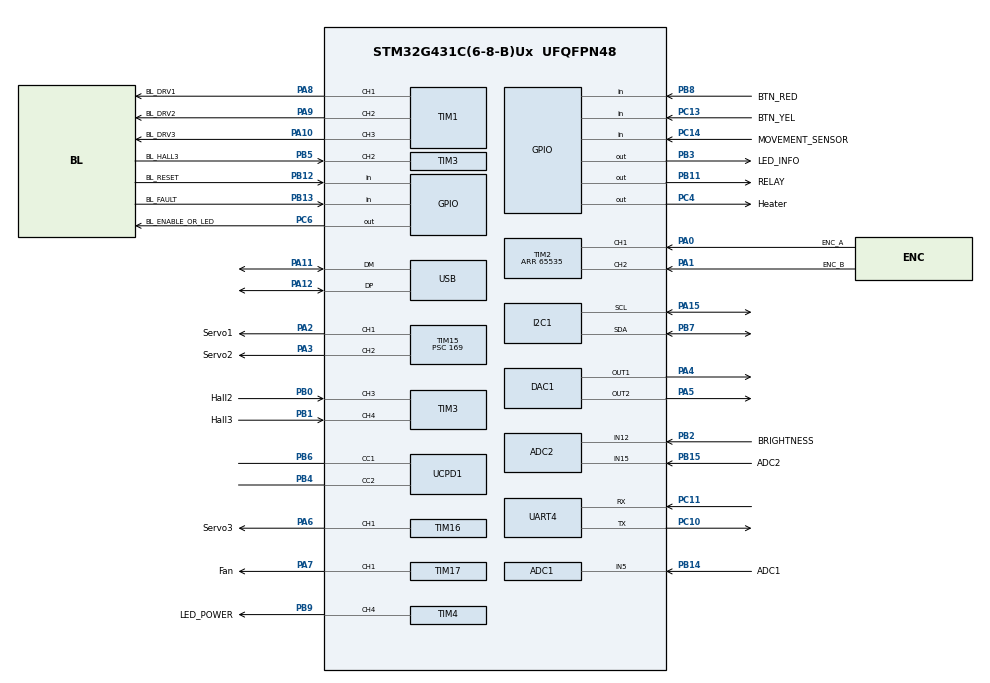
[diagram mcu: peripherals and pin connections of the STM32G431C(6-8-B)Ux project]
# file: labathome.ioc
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ADC1.Channel-0\#ChannelRegularConversion=ADC_CHANNEL_5
ADC1.Channel-1\#ChannelRegularConversion=ADC_CHANNEL_TEMPSENSOR_ADC1
ADC1.Channel-2\#ChannelRegularConversion=ADC_CHANNEL_VBAT
ADC1.Channel-3\#ChannelRegularConversion=ADC_CHANNEL_VREFINT
ADC1.ClockPrescaler=ADC_CLOCK_SYNC_PCLK_DIV4
ADC1.ContinuousConvMode=ENABLE
ADC1.DMAContinuousRequests=ENABLE
ADC1.EOCSelection=ADC_EOC_SEQ_CONV
ADC1.NbrOfConversion=4
ADC1.NbrOfConversionFlag=1
ADC1.OffsetNumber-0\#ChannelRegularConversion=ADC_OFFSET_NONE
ADC1.OffsetNumber-1\#ChannelRegularConversion=ADC_OFFSET_NONE
ADC1.OffsetNumber-2\#ChannelRegularConversion=ADC_OFFSET_NONE
ADC1.OffsetNumber-3\#ChannelRegularConversion=ADC_OFFSET_NONE
ADC1.Rank-0\#ChannelRegularConversion=1
ADC1.Rank-1\#ChannelRegularConversion=2
ADC1.Rank-2\#ChannelRegularConversion=3
ADC1.Rank-3\#ChannelRegularConversion=4
ADC1.Resolution=ADC_RESOLUTION_12B
ADC1.SamplingTime-0\#ChannelRegularConversion=ADC_SAMPLETIME_247CYCLES_5
ADC1.SamplingTime-1\#ChannelRegularConversion=ADC_SAMPLETIME_247CYCLES_5
ADC1.SamplingTime-2\#ChannelRegularConversion=ADC_SAMPLETIME_247CYCLES_5
ADC1.SamplingTime-3\#ChannelRegularConversion=ADC_SAMPLETIME_247CYCLES_5
ADC1.master=1
ADC2.Channel-0\#ChannelRegularConversion=ADC_CHANNEL_12
ADC2.Channel-1\#ChannelRegularConversion=ADC_CHANNEL_15
ADC2.ContinuousConvMode=ENABLE
ADC2.DMAContinuousRequests=ENABLE
ADC2.NbrOfConversion=2
ADC2.NbrOfConversionFlag=1
ADC2.OffsetNumber-0\#ChannelRegularConversion=ADC_OFFSET_NONE
ADC2.OffsetNumber-1\#ChannelRegularConversion=ADC_OFFSET_NONE
ADC2.Rank-0\#ChannelRegularConversion=1
ADC2.Rank-1\#ChannelRegularConversion=2
ADC2.SamplingTime-0\#ChannelRegularConversion=ADC_SAMPLETIME_640CYCLES_5
ADC2.SamplingTime-1\#ChannelRegularConversion=ADC_SAMPLETIME_640CYCLES_5
DAC1.DAC_Channel-DAC_OUT2=DAC_CHANNEL_2
Dma.ADC1.1.Direction=DMA_PERIPH_TO_MEMORY
Dma.ADC1.1.EventEnable=DISABLE
Dma.ADC1.1.Instance=DMA1_Channel1
Dma.ADC1.1.MemDataAlignment=DMA_MDATAALIGN_HALFWORD
Dma.ADC1.1.MemInc=DMA_MINC_ENABLE
Dma.ADC1.1.Mode=DMA_CIRCULAR
Dma.ADC1.1.PeriphDataAlignment=DMA_PDATAALIGN_HALFWORD
Dma.ADC1.1.PeriphInc=DMA_PINC_DISABLE
Dma.ADC1.1.Polarity=HAL_DMAMUX_REQ_GEN_RISING
Dma.ADC1.1.Priority=DMA_PRIORITY_LOW
Dma.ADC1.1.RequestNumber=1
Dma.ADC1.1.SignalID=NONE
Dma.ADC1.1.SyncEnable=DISABLE
Dma.ADC1.1.SyncPolarity=HAL_DMAMUX_SYNC_NO_EVENT
Dma.ADC1.1.SyncRequestNumber=1
Dma.ADC1.1.SyncSignalID=NONE
Dma.ADC2.0.Direction=DMA_PERIPH_TO_MEMORY
Dma.ADC2.0.EventEnable=DISABLE
Dma.ADC2.0.Instance=DMA1_Channel2
Dma.ADC2.0.MemDataAlignment=DMA_MDATAALIGN_HALFWORD
Dma.ADC2.0.MemInc=DMA_MINC_ENABLE
Dma.ADC2.0.Mode=DMA_CIRCULAR
Dma.ADC2.0.PeriphDataAlignment=DMA_PDATAALIGN_HALFWORD
Dma.ADC2.0.PeriphInc=DMA_PINC_DISABLE
Dma.ADC2.0.Polarity=HAL_DMAMUX_REQ_GEN_RISING
Dma.ADC2.0.Priority=DMA_PRIORITY_LOW
Dma.ADC2.0.RequestNumber=1
Dma.ADC2.0.SignalID=NONE
Dma.ADC2.0.SyncEnable=DISABLE
Dma.ADC2.0.SyncPolarity=HAL_DMAMUX_SYNC_NO_EVENT
Dma.ADC2.0.SyncRequestNumber=1
Dma.ADC2.0.SyncSignalID=NONE
Dma.Request0=ADC2
Dma.Request1=ADC1
Dma.Request2=UCPD1_RX
Dma.Request3=UCPD1_TX
Dma.UCPD1_RX.2.Direction=DMA_PERIPH_TO_MEMORY
Dma.UCPD1_RX.2.EventEnable=DISABLE
Dma.UCPD1_RX.2.Instance=DMA1_Channel3
Dma.UCPD1_RX.2.MemDataAlignment=DMA_MDATAALIGN_BYTE
Dma.UCPD1_RX.2.MemInc=DMA_MINC_ENABLE
Dma.UCPD1_RX.2.Mode=DMA_NORMAL
Dma.UCPD1_RX.2.PeriphDataAlignment=DMA_PDATAALIGN_BYTE
Dma.UCPD1_RX.2.PeriphInc=DMA_PINC_DISABLE
Dma.UCPD1_RX.2.Polarity=HAL_DMAMUX_REQ_GEN_RISING
Dma.UCPD1_RX.2.Priority=DMA_PRIORITY_LOW
Dma.UCPD1_RX.2.RequestNumber=1
Dma.UCPD1_RX.2.SignalID=NONE
Dma.UCPD1_RX.2.SyncEnable=DISABLE
Dma.UCPD1_RX.2.SyncPolarity=HAL_DMAMUX_SYNC_NO_EVENT
Dma.UCPD1_RX.2.SyncRequestNumber=1
Dma.UCPD1_RX.2.SyncSignalID=NONE
Dma.UCPD1_TX.3.Direction=DMA_MEMORY_TO_PERIPH
Dma.UCPD1_TX.3.EventEnable=DISABLE
Dma.UCPD1_TX.3.Instance=DMA1_Channel4
Dma.UCPD1_TX.3.MemDataAlignment=DMA_MDATAALIGN_BYTE
Dma.UCPD1_TX.3.MemInc=DMA_MINC_ENABLE
Dma.UCPD1_TX.3.Mode=DMA_NORMAL
Dma.UCPD1_TX.3.PeriphDataAlignment=DMA_PDATAALIGN_BYTE
Dma.UCPD1_TX.3.PeriphInc=DMA_PINC_DISABLE
Dma.UCPD1_TX.3.Polarity=HAL_DMAMUX_REQ_GEN_RISING
Dma.UCPD1_TX.3.Priority=DMA_PRIORITY_LOW
Dma.UCPD1_TX.3.RequestNumber=1
Dma.UCPD1_TX.3.SignalID=NONE
Dma.UCPD1_TX.3.SyncEnable=DISABLE
Dma.UCPD1_TX.3.SyncPolarity=HAL_DMAMUX_SYNC_NO_EVENT
Dma.UCPD1_TX.3.SyncRequestNumber=1
Dma.UCPD1_TX.3.SyncSignalID=NONE
FREERTOS.Tasks01=defaultTask,0,128,StartDefaultTask,Default,NULL,Dynamic,NULL,NULL
FREERTOS.configTOTAL_HEAP_SIZE=8192
I2C1.OwnAddress=STM32_I2C_ADDRESS
I2C1.Timing=0x40B285C2
Mcu.Family=STM32G4
Mcu.Name=STM32G431C(6-8-B)Ux
Mcu.Package=UFQFPN48
Mcu.UserConstants=STM32_I2C_ADDRESS,4
NVIC.DMA1_Channel1_IRQn=true\:5\:0\:false\:false\:true\:true\:false\:true\:true
NVIC.DMA1_Channel2_IRQn=true\:5\:0\:false\:false\:true\:true\:false\:true\:true
NVIC.DMA1_Channel3_IRQn=true\:5\:0\:false\:false\:true\:true\:false\:true\:true
NVIC.DMA1_Channel4_IRQn=true\:5\:0\:false\:false\:true\:true\:false\:true\:true
NVIC.I2C1_ER_IRQn=true\:5\:0\:false\:false\:true\:true\:true\:true\:true
NVIC.I2C1_EV_IRQn=true\:5\:0\:false\:false\:true\:true\:true\:true\:true
NVIC.PriorityGroup=NVIC_PRIORITYGROUP_4
NVIC.TIM6_DAC_IRQn=true\:15\:0\:false\:false\:true\:false\:false\:true\:true
NVIC.TimeBase=TIM6_DAC_IRQn
NVIC.TimeBaseIP=TIM6
NVIC.UCPD1_IRQn=true\:5\:0\:false\:false\:true\:true\:true\:false\:true
NVIC.USB_HP_IRQn=true\:5\:0\:false\:false\:true\:true\:true\:true\:true
NVIC.USB_LP_IRQn=true\:5\:0\:false\:false\:true\:true\:true\:true\:true
PA0.GPIO_Label=ENC_A
PA0.Signal=S_TIM2_CH1
PA1.GPIO_Label=ENC_B
PA1.Signal=S_TIM2_CH2
PA10.GPIO_Label=BL_DRV3
PA10.Signal=S_TIM1_CH3
PA11.Mode=Device
PA11.Signal=USB_DM
PA12.Mode=Device
PA12.Signal=USB_DP
PA13.Signal=SYS_JTMS-SWDIO
PA14.Signal=SYS_JTCK-SWCLK
PA15.Mode=I2C
PA15.Signal=I2C1_SCL
PA2.GPIO_Label=Servo1
PA2.Signal=S_TIM15_CH1
PA3.GPIO_Label=Servo2
PA3.Signal=S_TIM15_CH2
PA4.Signal=COMP_DAC11_group
PA5.Signal=COMP_DAC12_group
PA6.GPIO_Label=Servo3
PA6.Signal=S_TIM16_CH1
PA7.GPIO_Label=Fan
PA7.Signal=S_TIM17_CH1
PA8.GPIO_Label=BL_DRV1
PA8.Signal=S_TIM1_CH1
PA9.GPIO_Label=BL_DRV2
PA9.Signal=S_TIM1_CH2
PB0.GPIO_Label=Hall2
PB0.Signal=S_TIM3_CH3
PB1.GPIO_Label=Hall3
PB1.Signal=S_TIM3_CH4
PB11.GPIO_Label=RELAY
PB11.Signal=GPIO_Output
PB12.GPIO_Label=BL_RESET
PB12.Signal=GPIO_Input
PB13.GPIO_Label=BL_FAULT
PB13.Signal=GPIO_Input
PB14.GPIO_Label=ADC1
PB14.Mode=IN5-Single-Ended
PB14.Signal=ADC1_IN5
PB15.GPIO_Label=ADC2
PB15.Signal=SharedAnalog_PB15
PB2.GPIO_Label=BRIGHTNESS
PB2.Mode=IN12-Single-Ended
PB2.Signal=ADC2_IN12
PB3.GPIO_Label=LED_INFO
PB3.Signal=GPIO_Output
PB4.Mode=Sink_AllSignals
PB4.Signal=UCPD1_CC2
PB5.GPIO_Label=BL_HALL3
PB5.Signal=S_TIM3_CH2
PB6.Mode=Sink_AllSignals
PB6.Signal=UCPD1_CC1
PB7.Mode=I2C
PB7.Signal=I2C1_SDA
PB8-BOOT0.GPIO_Label=BTN_RED
PB8-BOOT0.Signal=GPIO_Input
PB9.GPIO_Label=LED_POWER
PB9.Signal=S_TIM4_CH4
PC10.Mode=Asynchronous
PC10.Signal=UART4_TX
PC11.Mode=Asynchronous
PC11.Signal=UART4_RX
PC13.GPIO_Label=BTN_YEL
PC13.Signal=GPIO_Input
PC14-OSC32_IN.GPIO_Label=MOVEMENT_SENSOR
PC14-OSC32_IN.Signal=GPIO_Input
PC4.GPIO_Label=Heater
PC4.Signal=GPIO_Output
PC6.GPIO_Label=BL_ENABLE_OR_LED
PC6.Signal=GPIO_Output
PF0-OSC_IN.Mode=HSE-External-Oscillator
PF0-OSC_IN.Signal=RCC_OSC_IN
PF1-OSC_OUT.Mode=HSE-External-Oscillator
PF1-OSC_OUT.Signal=RCC_OSC_OUT
ProjectManager.HeapSize=0x200
ProjectManager.StackSize=0x400
ProjectManager.TargetToolchain=CMake
RCC.ADC12Freq_Value=170000000
RCC.AHBFreq_Value=170000000
RCC.APB1Freq_Value=170000000
RCC.APB1TimFreq_Value=170000000
RCC.APB2Freq_Value=170000000
RCC.APB2TimFreq_Value=170000000
RCC.CK48CLockSelection=RCC_USBCLKSOURCE_HSI48
RCC.CortexFreq_Value=170000000
RCC.EXTERNAL_CLOCK_VALUE=12288000
RCC.HCLKFreq_Value=170000000
RCC.HSE_VALUE=8000000
RCC.HSI48_VALUE=48000000
RCC.HSI_VALUE=16000000
RCC.LSE_VALUE=32768
RCC.PLLM=RCC_PLLM_DIV2
RCC.PLLN=85
RCC.PLLQ=RCC_PLLQ_DIV4
RCC.PLLSourceVirtual=RCC_PLLSOURCE_HSE
RCC.SYSCLKFreq_VALUE=170000000
RCC.SYSCLKSource=RCC_SYSCLKSOURCE_PLLCLK
RCC.USBFreq_Value=48000000
RCC.VCOOutputFreq_Value=340000000
SH.COMP_DAC11_group.0=DAC1_OUT1,DAC_OUT1
SH.COMP_DAC12_group.0=DAC1_OUT2,DAC_OUT2
SH.S_TIM15_CH1.0=TIM15_CH1,PWM Generation1 CH1
SH.S_TIM15_CH2.0=TIM15_CH2,PWM Generation2 CH2
SH.S_TIM16_CH1.0=TIM16_CH1,PWM Generation1 CH1
SH.S_TIM17_CH1.0=TIM17_CH1,PWM Generation1 CH1
SH.S_TIM1_CH1.0=TIM1_CH1,Output Compare1 CH1
SH.S_TIM1_CH2.0=TIM1_CH2,Output Compare2 CH2
SH.S_TIM1_CH3.0=TIM1_CH3,Output Compare3 CH3
SH.S_TIM2_CH1.0=TIM2_CH1,Encoder_Interface
SH.S_TIM2_CH2.0=TIM2_CH2,Encoder_Interface
SH.S_TIM3_CH2.0=TIM3_CH2,Input_Capture2_from_TI2
SH.S_TIM3_CH3.0=TIM3_CH3,Input_Capture3_from_TI3
SH.S_TIM3_CH4.0=TIM3_CH4,Input_Capture4_from_TI4
SH.S_TIM4_CH4.0=TIM4_CH4,PWM Generation4 CH4
SH.SharedAnalog_PB15.0=GPIO_Analog
SH.SharedAnalog_PB15.1=ADC2_IN15,IN15-Single-Ended
TIM1.Channel-Output\ Compare1\ CH1=TIM_CHANNEL_1
TIM1.Channel-Output\ Compare2\ CH2=TIM_CHANNEL_2
TIM1.Channel-Output\ Compare3\ CH3=TIM_CHANNEL_3
TIM15.AutoReloadPreload=TIM_AUTORELOAD_PRELOAD_ENABLE
TIM15.Channel-PWM\ Generation1\ CH1=TIM_CHANNEL_1
TIM15.Channel-PWM\ Generation2\ CH2=TIM_CHANNEL_2
TIM15.PeriodNoDither=19999
TIM15.Prescaler=169
TIM15.PulseNoDither_1=1500
TIM15.PulseNoDither_2=1500
TIM16.AutoReloadPreload=TIM_AUTORELOAD_PRELOAD_ENABLE
TIM16.Channel=TIM_CHANNEL_1
TIM16.PeriodNoDither=19999
TIM16.Prescaler=169
TIM16.PulseNoDither_1=1500
TIM17.AutoReloadPreload=TIM_AUTORELOAD_PRELOAD_ENABLE
TIM17.Channel=TIM_CHANNEL_1
TIM17.PeriodNoDither=999
TIM17.Prescaler=169
TIM2.AutoReloadPreload=TIM_AUTORELOAD_PRELOAD_DISABLE
TIM2.PeriodNoDither=65535
TIM3.Channel-Input_Capture2_from_TI2=TIM_CHANNEL_2
TIM3.Channel-Input_Capture3_from_TI3=TIM_CHANNEL_3
TIM3.Channel-Input_Capture4_from_TI4=TIM_CHANNEL_4
TIM4.AutoReloadPreload=TIM_AUTORELOAD_PRELOAD_ENABLE
TIM4.Channel-PWM\ Generation4\ CH4=TIM_CHANNEL_4
TIM4.PeriodNoDither=999
TIM4.Prescaler=169
VP_ADC1_TempSens_Input.Mode=IN-TempSens
VP_ADC1_Vbat_Input.Mode=IN-Vbat
VP_ADC1_Vref_Input.Mode=IN-Vrefint
VP_FREERTOS_VS_CMSIS_V1.Mode=CMSIS_V1
VP_SYS_VS_DBSignals.Mode=DisableDeadBatterySignals
VP_SYS_VS_tim6.Mode=TIM6
VP_TIM15_VS_ClockSourceINT.Mode=Internal
VP_TIM16_VS_ClockSourceINT.Mode=Enable_Timer
VP_TIM17_VS_ClockSourceINT.Mode=Enable_Timer
VP_TIM4_VS_ClockSourceINT.Mode=Internal
VP_USBPD_VS_PD3MINSNK.Mode=PD3_Min_Snk
VP_USBPD_VS_USBPD1.Mode=USBPD_P0
VP_USBPD_VS_usbpd_tim8.Mode=TIM8
board=custom

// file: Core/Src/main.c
/* USER CODE BEGIN Header */
/**
  ******************************************************************************
  * @file           : main.c
  * @brief          : Main program body
  ******************************************************************************
  * @attention
  *
  * Copyright (c) 2024 STMicroelectronics.
  * All rights reserved.
  *
  * This software is licensed under terms that can be found in the LICENSE file
  * in the root directory of this software component.
  * If no LICENSE file comes with this software, it is provided AS-IS.
  *
  ******************************************************************************
  */
/* USER CODE END Header */
#include "main.h"
#include "cmsis_os.h"
#include "usbpd.h"

/* USER CODE BEGIN Includes */
#include <stdio.h>

extern void app_setup();
extern void app_loop();
extern void app_loop_1ms_irq_context();
#undef UNUSED
#define UNUSED(x) (void)(x)

/* USER CODE END Includes */

ADC_HandleTypeDef hadc1;
ADC_HandleTypeDef hadc2;
DMA_HandleTypeDef hdma_adc1;
DMA_HandleTypeDef hdma_adc2;

DAC_HandleTypeDef hdac1;

I2C_HandleTypeDef hi2c1;

TIM_HandleTypeDef htim1;
TIM_HandleTypeDef htim2;
TIM_HandleTypeDef htim3;
TIM_HandleTypeDef htim4;
TIM_HandleTypeDef htim15;
TIM_HandleTypeDef htim16;
TIM_HandleTypeDef htim17;

UART_HandleTypeDef huart4;

PCD_HandleTypeDef hpcd_USB_FS;

osThreadId defaultTaskHandle;

void SystemClock_Config(void);
static void MX_GPIO_Init(void);
static void MX_DMA_Init(void);
static void MX_ADC1_Init(void);
static void MX_ADC2_Init(void);
static void MX_DAC1_Init(void);
static void MX_I2C1_Init(void);
static void MX_TIM1_Init(void);
static void MX_TIM2_Init(void);
static void MX_TIM3_Init(void);
static void MX_TIM4_Init(void);
static void MX_TIM15_Init(void);
static void MX_TIM16_Init(void);
static void MX_TIM17_Init(void);
static void MX_UART4_Init(void);
static void MX_UCPD1_Init(void);
static void MX_USB_PCD_Init(void);
void StartDefaultTask(void const * argument);

/* USER CODE BEGIN 0 */
#define DEBUG_TIMEOUT 1000
#define DEBUG_UART huart4

int __io_putchar(int ch)
{
  HAL_UART_Transmit(&DEBUG_UART, (uint8_t*)&ch, 1, DEBUG_TIMEOUT);
  return ch;
}
/* USER CODE END 0 */

int main(void)
{

  /* MCU Configuration--------------------------------------------------------*/

  /* Reset of all peripherals, Initializes the Flash interface and the Systick. */
  HAL_Init();

  /* Configure the system clock */
  SystemClock_Config();

  /* Initialize all configured peripherals */
  MX_GPIO_Init();
  MX_DMA_Init();
  MX_ADC1_Init();
  MX_ADC2_Init();
  MX_DAC1_Init();
  MX_I2C1_Init();
  MX_TIM1_Init();
  MX_TIM2_Init();
  MX_TIM3_Init();
  MX_TIM4_Init();
  MX_TIM15_Init();
  MX_TIM16_Init();
  MX_TIM17_Init();
  MX_UART4_Init();
  MX_UCPD1_Init();
  MX_USB_PCD_Init();
  /* USER CODE BEGIN 2 */

  app_setup();
  while (1)
  {
     app_loop();
  }
  /* USER CODE END 2 */

  /* USBPD initialisation ---------------------------------*/
  MX_USBPD_Init();

  /* Create the thread(s) */
  /* definition and creation of defaultTask */
  osThreadDef(defaultTask, StartDefaultTask, osPriorityNormal, 0, 128);
  defaultTaskHandle = osThreadCreate(osThread(defaultTask), NULL);

  /* Start scheduler */
  osKernelStart();

  /* We should never get here as control is now taken by the scheduler */

  /* Infinite loop */
  while (1)
  {

  }
}

void SystemClock_Config(void)
{
  LL_FLASH_SetLatency(LL_FLASH_LATENCY_4);
  while(LL_FLASH_GetLatency() != LL_FLASH_LATENCY_4)
  {
  }
  LL_PWR_EnableRange1BoostMode();
  LL_RCC_HSE_Enable();
   /* Wait till HSE is ready */
  while(LL_RCC_HSE_IsReady() != 1)
  {
  }

  LL_RCC_HSI_Enable();
   /* Wait till HSI is ready */
  while(LL_RCC_HSI_IsReady() != 1)
  {
  }

  LL_RCC_HSI_SetCalibTrimming(64);
  LL_RCC_HSI48_Enable();
   /* Wait till HSI48 is ready */
  while(LL_RCC_HSI48_IsReady() != 1)
  {
  }

  LL_RCC_PLL_ConfigDomain_SYS(LL_RCC_PLLSOURCE_HSE, LL_RCC_PLLM_DIV_2, 85, LL_RCC_PLLR_DIV_2);
  LL_RCC_PLL_EnableDomain_SYS();
  LL_RCC_PLL_Enable();
   /* Wait till PLL is ready */
  while(LL_RCC_PLL_IsReady() != 1)
  {
  }

  LL_RCC_SetSysClkSource(LL_RCC_SYS_CLKSOURCE_PLL);
  LL_RCC_SetAHBPrescaler(LL_RCC_SYSCLK_DIV_2);
   /* Wait till System clock is ready */
  while(LL_RCC_GetSysClkSource() != LL_RCC_SYS_CLKSOURCE_STATUS_PLL)
  {
  }

  /* Insure 1us transition state at intermediate medium speed clock*/
  for (__IO uint32_t i = (170 >> 1); i !=0; i--);

  /* Set AHB prescaler*/
  LL_RCC_SetAHBPrescaler(LL_RCC_SYSCLK_DIV_1);
  LL_RCC_SetAPB1Prescaler(LL_RCC_APB1_DIV_1);
  LL_RCC_SetAPB2Prescaler(LL_RCC_APB2_DIV_1);
  LL_SetSystemCoreClock(170000000);

   /* Update the time base */
  if (HAL_InitTick (TICK_INT_PRIORITY) != HAL_OK)
  {
    Error_Handler();
  }
}

static void MX_ADC1_Init(void)
{

  ADC_MultiModeTypeDef multimode = {0};
  ADC_ChannelConfTypeDef sConfig = {0};

  /** Common config
  */
  hadc1.Instance = ADC1;
  hadc1.Init.ClockPrescaler = ADC_CLOCK_SYNC_PCLK_DIV4;
  hadc1.Init.Resolution = ADC_RESOLUTION_12B;
  hadc1.Init.DataAlign = ADC_DATAALIGN_RIGHT;
  hadc1.Init.GainCompensation = 0;
  hadc1.Init.ScanConvMode = ADC_SCAN_ENABLE;
  hadc1.Init.EOCSelection = ADC_EOC_SEQ_CONV;
  hadc1.Init.LowPowerAutoWait = DISABLE;
  hadc1.Init.ContinuousConvMode = ENABLE;
  hadc1.Init.NbrOfConversion = 4;
  hadc1.Init.DiscontinuousConvMode = DISABLE;
  hadc1.Init.ExternalTrigConv = ADC_SOFTWARE_START;
  hadc1.Init.ExternalTrigConvEdge = ADC_EXTERNALTRIGCONVEDGE_NONE;
  hadc1.Init.DMAContinuousRequests = ENABLE;
  hadc1.Init.Overrun = ADC_OVR_DATA_PRESERVED;
  hadc1.Init.OversamplingMode = DISABLE;
  if (HAL_ADC_Init(&hadc1) != HAL_OK)
  {
    Error_Handler();
  }

  /** Configure the ADC multi-mode
  */
  multimode.Mode = ADC_MODE_INDEPENDENT;
  if (HAL_ADCEx_MultiModeConfigChannel(&hadc1, &multimode) != HAL_OK)
  {
    Error_Handler();
  }

  /** Configure Regular Channel
  */
  sConfig.Channel = ADC_CHANNEL_5;
  sConfig.Rank = ADC_REGULAR_RANK_1;
  sConfig.SamplingTime = ADC_SAMPLETIME_247CYCLES_5;
  sConfig.SingleDiff = ADC_SINGLE_ENDED;
  sConfig.OffsetNumber = ADC_OFFSET_NONE;
  sConfig.Offset = 0;
  if (HAL_ADC_ConfigChannel(&hadc1, &sConfig) != HAL_OK)
  {
    Error_Handler();
  }

  /** Configure Regular Channel
  */
  sConfig.Channel = ADC_CHANNEL_TEMPSENSOR_ADC1;
  sConfig.Rank = ADC_REGULAR_RANK_2;
  if (HAL_ADC_ConfigChannel(&hadc1, &sConfig) != HAL_OK)
  {
    Error_Handler();
  }

  /** Configure Regular Channel
  */
  sConfig.Channel = ADC_CHANNEL_VBAT;
  sConfig.Rank = ADC_REGULAR_RANK_3;
  if (HAL_ADC_ConfigChannel(&hadc1, &sConfig) != HAL_OK)
  {
    Error_Handler();
  }

  /** Configure Regular Channel
  */
  sConfig.Channel = ADC_CHANNEL_VREFINT;
  sConfig.Rank = ADC_REGULAR_RANK_4;
  if (HAL_ADC_ConfigChannel(&hadc1, &sConfig) != HAL_OK)
  {
    Error_Handler();
  }

}

static void MX_ADC2_Init(void)
{

  ADC_ChannelConfTypeDef sConfig = {0};

  /** Common config
  */
  hadc2.Instance = ADC2;
  hadc2.Init.ClockPrescaler = ADC_CLOCK_SYNC_PCLK_DIV4;
  hadc2.Init.Resolution = ADC_RESOLUTION_12B;
  hadc2.Init.DataAlign = ADC_DATAALIGN_RIGHT;
  hadc2.Init.GainCompensation = 0;
  hadc2.Init.ScanConvMode = ADC_SCAN_ENABLE;
  hadc2.Init.EOCSelection = ADC_EOC_SINGLE_CONV;
  hadc2.Init.LowPowerAutoWait = DISABLE;
  hadc2.Init.ContinuousConvMode = ENABLE;
  hadc2.Init.NbrOfConversion = 2;
  hadc2.Init.DiscontinuousConvMode = DISABLE;
  hadc2.Init.ExternalTrigConv = ADC_SOFTWARE_START;
  hadc2.Init.ExternalTrigConvEdge = ADC_EXTERNALTRIGCONVEDGE_NONE;
  hadc2.Init.DMAContinuousRequests = ENABLE;
  hadc2.Init.Overrun = ADC_OVR_DATA_PRESERVED;
  hadc2.Init.OversamplingMode = DISABLE;
  if (HAL_ADC_Init(&hadc2) != HAL_OK)
  {
    Error_Handler();
  }

  /** Configure Regular Channel
  */
  sConfig.Channel = ADC_CHANNEL_12;
  sConfig.Rank = ADC_REGULAR_RANK_1;
  sConfig.SamplingTime = ADC_SAMPLETIME_640CYCLES_5;
  sConfig.SingleDiff = ADC_SINGLE_ENDED;
  sConfig.OffsetNumber = ADC_OFFSET_NONE;
  sConfig.Offset = 0;
  if (HAL_ADC_ConfigChannel(&hadc2, &sConfig) != HAL_OK)
  {
    Error_Handler();
  }

  /** Configure Regular Channel
  */
  sConfig.Channel = ADC_CHANNEL_15;
  sConfig.Rank = ADC_REGULAR_RANK_2;
  if (HAL_ADC_ConfigChannel(&hadc2, &sConfig) != HAL_OK)
  {
    Error_Handler();
  }

}

static void MX_DAC1_Init(void)
{

  DAC_ChannelConfTypeDef sConfig = {0};

  /** DAC Initialization
  */
  hdac1.Instance = DAC1;
  if (HAL_DAC_Init(&hdac1) != HAL_OK)
  {
    Error_Handler();
  }

  /** DAC channel OUT1 config
  */
  sConfig.DAC_HighFrequency = DAC_HIGH_FREQUENCY_INTERFACE_MODE_AUTOMATIC;
  sConfig.DAC_DMADoubleDataMode = DISABLE;
  sConfig.DAC_SignedFormat = DISABLE;
  sConfig.DAC_SampleAndHold = DAC_SAMPLEANDHOLD_DISABLE;
  sConfig.DAC_Trigger = DAC_TRIGGER_NONE;
  sConfig.DAC_Trigger2 = DAC_TRIGGER_NONE;
  sConfig.DAC_OutputBuffer = DAC_OUTPUTBUFFER_ENABLE;
  sConfig.DAC_ConnectOnChipPeripheral = DAC_CHIPCONNECT_EXTERNAL;
  sConfig.DAC_UserTrimming = DAC_TRIMMING_FACTORY;
  if (HAL_DAC_ConfigChannel(&hdac1, &sConfig, DAC_CHANNEL_1) != HAL_OK)
  {
    Error_Handler();
  }

  /** DAC channel OUT2 config
  */
  if (HAL_DAC_ConfigChannel(&hdac1, &sConfig, DAC_CHANNEL_2) != HAL_OK)
  {
    Error_Handler();
  }

}

static void MX_I2C1_Init(void)
{

  hi2c1.Instance = I2C1;
  hi2c1.Init.Timing = 0x40B285C2;
  hi2c1.Init.OwnAddress1 = 8;
  hi2c1.Init.AddressingMode = I2C_ADDRESSINGMODE_7BIT;
  hi2c1.Init.DualAddressMode = I2C_DUALADDRESS_DISABLE;
  hi2c1.Init.OwnAddress2 = 0;
  hi2c1.Init.OwnAddress2Masks = I2C_OA2_NOMASK;
  hi2c1.Init.GeneralCallMode = I2C_GENERALCALL_DISABLE;
  hi2c1.Init.NoStretchMode = I2C_NOSTRETCH_DISABLE;
  if (HAL_I2C_Init(&hi2c1) != HAL_OK)
  {
    Error_Handler();
  }

  /** Configure Analogue filter
  */
  if (HAL_I2CEx_ConfigAnalogFilter(&hi2c1, I2C_ANALOGFILTER_ENABLE) != HAL_OK)
  {
    Error_Handler();
  }

  /** Configure Digital filter
  */
  if (HAL_I2CEx_ConfigDigitalFilter(&hi2c1, 0) != HAL_OK)
  {
    Error_Handler();
  }

}

static void MX_TIM1_Init(void)
{

  TIM_MasterConfigTypeDef sMasterConfig = {0};
  TIM_OC_InitTypeDef sConfigOC = {0};
  TIM_BreakDeadTimeConfigTypeDef sBreakDeadTimeConfig = {0};

  htim1.Instance = TIM1;
  htim1.Init.Prescaler = 0;
  htim1.Init.CounterMode = TIM_COUNTERMODE_UP;
  htim1.Init.Period = 65535;
  htim1.Init.ClockDivision = TIM_CLOCKDIVISION_DIV1;
  htim1.Init.RepetitionCounter = 0;
  htim1.Init.AutoReloadPreload = TIM_AUTORELOAD_PRELOAD_DISABLE;
  if (HAL_TIM_OC_Init(&htim1) != HAL_OK)
  {
    Error_Handler();
  }
  sMasterConfig.MasterOutputTrigger = TIM_TRGO_RESET;
  sMasterConfig.MasterOutputTrigger2 = TIM_TRGO2_RESET;
  sMasterConfig.MasterSlaveMode = TIM_MASTERSLAVEMODE_DISABLE;
  if (HAL_TIMEx_MasterConfigSynchronization(&htim1, &sMasterConfig) != HAL_OK)
  {
    Error_Handler();
  }
  sConfigOC.OCMode = TIM_OCMODE_TIMING;
  sConfigOC.Pulse = 0;
  sConfigOC.OCPolarity = TIM_OCPOLARITY_HIGH;
  sConfigOC.OCNPolarity = TIM_OCNPOLARITY_HIGH;
  sConfigOC.OCFastMode = TIM_OCFAST_DISABLE;
  sConfigOC.OCIdleState = TIM_OCIDLESTATE_RESET;
  sConfigOC.OCNIdleState = TIM_OCNIDLESTATE_RESET;
  if (HAL_TIM_OC_ConfigChannel(&htim1, &sConfigOC, TIM_CHANNEL_1) != HAL_OK)
  {
    Error_Handler();
  }
  if (HAL_TIM_OC_ConfigChannel(&htim1, &sConfigOC, TIM_CHANNEL_2) != HAL_OK)
  {
    Error_Handler();
  }
  if (HAL_TIM_OC_ConfigChannel(&htim1, &sConfigOC, TIM_CHANNEL_3) != HAL_OK)
  {
    Error_Handler();
  }
  sBreakDeadTimeConfig.OffStateRunMode = TIM_OSSR_DISABLE;
  sBreakDeadTimeConfig.OffStateIDLEMode = TIM_OSSI_DISABLE;
  sBreakDeadTimeConfig.LockLevel = TIM_LOCKLEVEL_OFF;
  sBreakDeadTimeConfig.DeadTime = 0;
  sBreakDeadTimeConfig.BreakState = TIM_BREAK_DISABLE;
  sBreakDeadTimeConfig.BreakPolarity = TIM_BREAKPOLARITY_HIGH;
  sBreakDeadTimeConfig.BreakFilter = 0;
  sBreakDeadTimeConfig.BreakAFMode = TIM_BREAK_AFMODE_INPUT;
  sBreakDeadTimeConfig.Break2State = TIM_BREAK2_DISABLE;
  sBreakDeadTimeConfig.Break2Polarity = TIM_BREAK2POLARITY_HIGH;
  sBreakDeadTimeConfig.Break2Filter = 0;
  sBreakDeadTimeConfig.Break2AFMode = TIM_BREAK_AFMODE_INPUT;
  sBreakDeadTimeConfig.AutomaticOutput = TIM_AUTOMATICOUTPUT_DISABLE;
  if (HAL_TIMEx_ConfigBreakDeadTime(&htim1, &sBreakDeadTimeConfig) != HAL_OK)
  {
    Error_Handler();
  }
  HAL_TIM_MspPostInit(&htim1);

}

static void MX_TIM2_Init(void)
{

  TIM_Encoder_InitTypeDef sConfig = {0};
  TIM_MasterConfigTypeDef sMasterConfig = {0};

  htim2.Instance = TIM2;
  htim2.Init.Prescaler = 0;
  htim2.Init.CounterMode = TIM_COUNTERMODE_UP;
  htim2.Init.Period = 65535;
  htim2.Init.ClockDivision = TIM_CLOCKDIVISION_DIV1;
  htim2.Init.AutoReloadPreload = TIM_AUTORELOAD_PRELOAD_DISABLE;
  sConfig.EncoderMode = TIM_ENCODERMODE_TI1;
  sConfig.IC1Polarity = TIM_ICPOLARITY_RISING;
  sConfig.IC1Selection = TIM_ICSELECTION_DIRECTTI;
  sConfig.IC1Prescaler = TIM_ICPSC_DIV1;
  sConfig.IC1Filter = 0;
  sConfig.IC2Polarity = TIM_ICPOLARITY_RISING;
  sConfig.IC2Selection = TIM_ICSELECTION_DIRECTTI;
  sConfig.IC2Prescaler = TIM_ICPSC_DIV1;
  sConfig.IC2Filter = 0;
  if (HAL_TIM_Encoder_Init(&htim2, &sConfig) != HAL_OK)
  {
    Error_Handler();
  }
  sMasterConfig.MasterOutputTrigger = TIM_TRGO_RESET;
  sMasterConfig.MasterSlaveMode = TIM_MASTERSLAVEMODE_DISABLE;
  if (HAL_TIMEx_MasterConfigSynchronization(&htim2, &sMasterConfig) != HAL_OK)
  {
    Error_Handler();
  }

}

static void MX_TIM3_Init(void)
{

  TIM_MasterConfigTypeDef sMasterConfig = {0};
  TIM_IC_InitTypeDef sConfigIC = {0};

  htim3.Instance = TIM3;
  htim3.Init.Prescaler = 0;
  htim3.Init.CounterMode = TIM_COUNTERMODE_UP;
  htim3.Init.Period = 65535;
  htim3.Init.ClockDivision = TIM_CLOCKDIVISION_DIV1;
  htim3.Init.AutoReloadPreload = TIM_AUTORELOAD_PRELOAD_DISABLE;
  if (HAL_TIM_IC_Init(&htim3) != HAL_OK)
  {
    Error_Handler();
  }
  sMasterConfig.MasterOutputTrigger = TIM_TRGO_RESET;
  sMasterConfig.MasterSlaveMode = TIM_MASTERSLAVEMODE_DISABLE;
  if (HAL_TIMEx_MasterConfigSynchronization(&htim3, &sMasterConfig) != HAL_OK)
  {
    Error_Handler();
  }
  sConfigIC.ICPolarity = TIM_INPUTCHANNELPOLARITY_RISING;
  sConfigIC.ICSelection = TIM_ICSELECTION_DIRECTTI;
  sConfigIC.ICPrescaler = TIM_ICPSC_DIV1;
  sConfigIC.ICFilter = 0;
  if (HAL_TIM_IC_ConfigChannel(&htim3, &sConfigIC, TIM_CHANNEL_2) != HAL_OK)
  {
    Error_Handler();
  }
  if (HAL_TIM_IC_ConfigChannel(&htim3, &sConfigIC, TIM_CHANNEL_3) != HAL_OK)
  {
    Error_Handler();
  }
  if (HAL_TIM_IC_ConfigChannel(&htim3, &sConfigIC, TIM_CHANNEL_4) != HAL_OK)
  {
    Error_Handler();
  }

}

static void MX_TIM4_Init(void)
{

  TIM_ClockConfigTypeDef sClockSourceConfig = {0};
  TIM_MasterConfigTypeDef sMasterConfig = {0};
  TIM_OC_InitTypeDef sConfigOC = {0};

  htim4.Instance = TIM4;
  htim4.Init.Prescaler = 169;
  htim4.Init.CounterMode = TIM_COUNTERMODE_UP;
  htim4.Init.Period = 999;
  htim4.Init.ClockDivision = TIM_CLOCKDIVISION_DIV1;
  htim4.Init.AutoReloadPreload = TIM_AUTORELOAD_PRELOAD_ENABLE;
  if (HAL_TIM_Base_Init(&htim4) != HAL_OK)
  {
    Error_Handler();
  }
  sClockSourceConfig.ClockSource = TIM_CLOCKSOURCE_INTERNAL;
  if (HAL_TIM_ConfigClockSource(&htim4, &sClockSourceConfig) != HAL_OK)
  {
    Error_Handler();
  }
  if (HAL_TIM_PWM_Init(&htim4) != HAL_OK)
  {
    Error_Handler();
  }
  sMasterConfig.MasterOutputTrigger = TIM_TRGO_RESET;
  sMasterConfig.MasterSlaveMode = TIM_MASTERSLAVEMODE_DISABLE;
  if (HAL_TIMEx_MasterConfigSynchronization(&htim4, &sMasterConfig) != HAL_OK)
  {
    Error_Handler();
  }
  sConfigOC.OCMode = TIM_OCMODE_PWM1;
  sConfigOC.Pulse = 0;
  sConfigOC.OCPolarity = TIM_OCPOLARITY_HIGH;
  sConfigOC.OCFastMode = TIM_OCFAST_DISABLE;
  if (HAL_TIM_PWM_ConfigChannel(&htim4, &sConfigOC, TIM_CHANNEL_4) != HAL_OK)
  {
    Error_Handler();
  }
  HAL_TIM_MspPostInit(&htim4);

}

static void MX_TIM15_Init(void)
{

  TIM_ClockConfigTypeDef sClockSourceConfig = {0};
  TIM_MasterConfigTypeDef sMasterConfig = {0};
  TIM_OC_InitTypeDef sConfigOC = {0};
  TIM_BreakDeadTimeConfigTypeDef sBreakDeadTimeConfig = {0};

  htim15.Instance = TIM15;
  htim15.Init.Prescaler = 169;
  htim15.Init.CounterMode = TIM_COUNTERMODE_UP;
  htim15.Init.Period = 19999;
  htim15.Init.ClockDivision = TIM_CLOCKDIVISION_DIV1;
  htim15.Init.RepetitionCounter = 0;
  htim15.Init.AutoReloadPreload = TIM_AUTORELOAD_PRELOAD_ENABLE;
  if (HAL_TIM_Base_Init(&htim15) != HAL_OK)
  {
    Error_Handler();
  }
  sClockSourceConfig.ClockSource = TIM_CLOCKSOURCE_INTERNAL;
  if (HAL_TIM_ConfigClockSource(&htim15, &sClockSourceConfig) != HAL_OK)
  {
    Error_Handler();
  }
  if (HAL_TIM_PWM_Init(&htim15) != HAL_OK)
  {
    Error_Handler();
  }
  sMasterConfig.MasterOutputTrigger = TIM_TRGO_RESET;
  sMasterConfig.MasterSlaveMode = TIM_MASTERSLAVEMODE_DISABLE;
  if (HAL_TIMEx_MasterConfigSynchronization(&htim15, &sMasterConfig) != HAL_OK)
  {
    Error_Handler();
  }
  sConfigOC.OCMode = TIM_OCMODE_PWM1;
  sConfigOC.Pulse = 1500;
  sConfigOC.OCPolarity = TIM_OCPOLARITY_HIGH;
  sConfigOC.OCNPolarity = TIM_OCNPOLARITY_HIGH;
  sConfigOC.OCFastMode = TIM_OCFAST_DISABLE;
  sConfigOC.OCIdleState = TIM_OCIDLESTATE_RESET;
  sConfigOC.OCNIdleState = TIM_OCNIDLESTATE_RESET;
  if (HAL_TIM_PWM_ConfigChannel(&htim15, &sConfigOC, TIM_CHANNEL_1) != HAL_OK)
  {
    Error_Handler();
  }
  if (HAL_TIM_PWM_ConfigChannel(&htim15, &sConfigOC, TIM_CHANNEL_2) != HAL_OK)
  {
    Error_Handler();
  }
  sBreakDeadTimeConfig.OffStateRunMode = TIM_OSSR_DISABLE;
  sBreakDeadTimeConfig.OffStateIDLEMode = TIM_OSSI_DISABLE;
  sBreakDeadTimeConfig.LockLevel = TIM_LOCKLEVEL_OFF;
  sBreakDeadTimeConfig.DeadTime = 0;
  sBreakDeadTimeConfig.BreakState = TIM_BREAK_DISABLE;
  sBreakDeadTimeConfig.BreakPolarity = TIM_BREAKPOLARITY_HIGH;
  sBreakDeadTimeConfig.BreakFilter = 0;
  sBreakDeadTimeConfig.AutomaticOutput = TIM_AUTOMATICOUTPUT_DISABLE;
  if (HAL_TIMEx_ConfigBreakDeadTime(&htim15, &sBreakDeadTimeConfig) != HAL_OK)
  {
    Error_Handler();
  }
  HAL_TIM_MspPostInit(&htim15);

}

static void MX_TIM16_Init(void)
{

  TIM_OC_InitTypeDef sConfigOC = {0};
  TIM_BreakDeadTimeConfigTypeDef sBreakDeadTimeConfig = {0};

  htim16.Instance = TIM16;
  htim16.Init.Prescaler = 169;
  htim16.Init.CounterMode = TIM_COUNTERMODE_UP;
  htim16.Init.Period = 19999;
  htim16.Init.ClockDivision = TIM_CLOCKDIVISION_DIV1;
  htim16.Init.RepetitionCounter = 0;
  htim16.Init.AutoReloadPreload = TIM_AUTORELOAD_PRELOAD_ENABLE;
  if (HAL_TIM_Base_Init(&htim16) != HAL_OK)
  {
    Error_Handler();
  }
  if (HAL_TIM_PWM_Init(&htim16) != HAL_OK)
  {
    Error_Handler();
  }
  sConfigOC.OCMode = TIM_OCMODE_PWM1;
  sConfigOC.Pulse = 1500;
  sConfigOC.OCPolarity = TIM_OCPOLARITY_HIGH;
  sConfigOC.OCNPolarity = TIM_OCNPOLARITY_HIGH;
  sConfigOC.OCFastMode = TIM_OCFAST_DISABLE;
  sConfigOC.OCIdleState = TIM_OCIDLESTATE_RESET;
  sConfigOC.OCNIdleState = TIM_OCNIDLESTATE_RESET;
  if (HAL_TIM_PWM_ConfigChannel(&htim16, &sConfigOC, TIM_CHANNEL_1) != HAL_OK)
  {
    Error_Handler();
  }
  sBreakDeadTimeConfig.OffStateRunMode = TIM_OSSR_DISABLE;
  sBreakDeadTimeConfig.OffStateIDLEMode = TIM_OSSI_DISABLE;
  sBreakDeadTimeConfig.LockLevel = TIM_LOCKLEVEL_OFF;
  sBreakDeadTimeConfig.DeadTime = 0;
  sBreakDeadTimeConfig.BreakState = TIM_BREAK_DISABLE;
  sBreakDeadTimeConfig.BreakPolarity = TIM_BREAKPOLARITY_HIGH;
  sBreakDeadTimeConfig.BreakFilter = 0;
  sBreakDeadTimeConfig.AutomaticOutput = TIM_AUTOMATICOUTPUT_DISABLE;
  if (HAL_TIMEx_ConfigBreakDeadTime(&htim16, &sBreakDeadTimeConfig) != HAL_OK)
  {
    Error_Handler();
  }
  HAL_TIM_MspPostInit(&htim16);

}

static void MX_TIM17_Init(void)
{

  TIM_OC_InitTypeDef sConfigOC = {0};
  TIM_BreakDeadTimeConfigTypeDef sBreakDeadTimeConfig = {0};

  htim17.Instance = TIM17;
  htim17.Init.Prescaler = 169;
  htim17.Init.CounterMode = TIM_COUNTERMODE_UP;
  htim17.Init.Period = 999;
  htim17.Init.ClockDivision = TIM_CLOCKDIVISION_DIV1;
  htim17.Init.RepetitionCounter = 0;
  htim17.Init.AutoReloadPreload = TIM_AUTORELOAD_PRELOAD_ENABLE;
  if (HAL_TIM_Base_Init(&htim17) != HAL_OK)
  {
    Error_Handler();
  }
  if (HAL_TIM_PWM_Init(&htim17) != HAL_OK)
  {
    Error_Handler();
  }
  sConfigOC.OCMode = TIM_OCMODE_PWM1;
  sConfigOC.Pulse = 0;
  sConfigOC.OCPolarity = TIM_OCPOLARITY_HIGH;
  sConfigOC.OCNPolarity = TIM_OCNPOLARITY_HIGH;
  sConfigOC.OCFastMode = TIM_OCFAST_DISABLE;
  sConfigOC.OCIdleState = TIM_OCIDLESTATE_RESET;
  sConfigOC.OCNIdleState = TIM_OCNIDLESTATE_RESET;
  if (HAL_TIM_PWM_ConfigChannel(&htim17, &sConfigOC, TIM_CHANNEL_1) != HAL_OK)
  {
    Error_Handler();
  }
  sBreakDeadTimeConfig.OffStateRunMode = TIM_OSSR_DISABLE;
  sBreakDeadTimeConfig.OffStateIDLEMode = TIM_OSSI_DISABLE;
  sBreakDeadTimeConfig.LockLevel = TIM_LOCKLEVEL_OFF;
  sBreakDeadTimeConfig.DeadTime = 0;
  sBreakDeadTimeConfig.BreakState = TIM_BREAK_DISABLE;
  sBreakDeadTimeConfig.BreakPolarity = TIM_BREAKPOLARITY_HIGH;
  sBreakDeadTimeConfig.BreakFilter = 0;
  sBreakDeadTimeConfig.AutomaticOutput = TIM_AUTOMATICOUTPUT_DISABLE;
  if (HAL_TIMEx_ConfigBreakDeadTime(&htim17, &sBreakDeadTimeConfig) != HAL_OK)
  {
    Error_Handler();
  }
  HAL_TIM_MspPostInit(&htim17);

}

static void MX_UART4_Init(void)
{

  huart4.Instance = UART4;
  huart4.Init.BaudRate = 115200;
  huart4.Init.WordLength = UART_WORDLENGTH_8B;
  huart4.Init.StopBits = UART_STOPBITS_1;
  huart4.Init.Parity = UART_PARITY_NONE;
  huart4.Init.Mode = UART_MODE_TX_RX;
  huart4.Init.HwFlowCtl = UART_HWCONTROL_NONE;
  huart4.Init.OverSampling = UART_OVERSAMPLING_16;
  huart4.Init.OneBitSampling = UART_ONE_BIT_SAMPLE_DISABLE;
  huart4.Init.ClockPrescaler = UART_PRESCALER_DIV1;
  huart4.AdvancedInit.AdvFeatureInit = UART_ADVFEATURE_NO_INIT;
  if (HAL_UART_Init(&huart4) != HAL_OK)
  {
    Error_Handler();
  }
  if (HAL_UARTEx_SetTxFifoThreshold(&huart4, UART_TXFIFO_THRESHOLD_1_8) != HAL_OK)
  {
    Error_Handler();
  }
  if (HAL_UARTEx_SetRxFifoThreshold(&huart4, UART_RXFIFO_THRESHOLD_1_8) != HAL_OK)
  {
    Error_Handler();
  }
  if (HAL_UARTEx_DisableFifoMode(&huart4) != HAL_OK)
  {
    Error_Handler();
  }

}

static void MX_UCPD1_Init(void)
{

  LL_GPIO_InitTypeDef GPIO_InitStruct = {0};

  /* Peripheral clock enable */
  LL_APB1_GRP2_EnableClock(LL_APB1_GRP2_PERIPH_UCPD1);

  LL_AHB2_GRP1_EnableClock(LL_AHB2_GRP1_PERIPH_GPIOB);
  /**UCPD1 GPIO Configuration
  PB4   ------> UCPD1_CC2
  PB6   ------> UCPD1_CC1
  */
  GPIO_InitStruct.Pin = LL_GPIO_PIN_4;
  GPIO_InitStruct.Mode = LL_GPIO_MODE_ANALOG;
  GPIO_InitStruct.Pull = LL_GPIO_PULL_NO;
  LL_GPIO_Init(GPIOB, &GPIO_InitStruct);

  GPIO_InitStruct.Pin = LL_GPIO_PIN_6;
  GPIO_InitStruct.Mode = LL_GPIO_MODE_ANALOG;
  GPIO_InitStruct.Pull = LL_GPIO_PULL_NO;
  LL_GPIO_Init(GPIOB, &GPIO_InitStruct);

  /* UCPD1 DMA Init */

  /* UCPD1_RX Init */
  LL_DMA_SetPeriphRequest(DMA1, LL_DMA_CHANNEL_3, LL_DMAMUX_REQ_UCPD1_RX);

  LL_DMA_SetDataTransferDirection(DMA1, LL_DMA_CHANNEL_3, LL_DMA_DIRECTION_PERIPH_TO_MEMORY);

  LL_DMA_SetChannelPriorityLevel(DMA1, LL_DMA_CHANNEL_3, LL_DMA_PRIORITY_LOW);

  LL_DMA_SetMode(DMA1, LL_DMA_CHANNEL_3, LL_DMA_MODE_NORMAL);

  LL_DMA_SetPeriphIncMode(DMA1, LL_DMA_CHANNEL_3, LL_DMA_PERIPH_NOINCREMENT);

  LL_DMA_SetMemoryIncMode(DMA1, LL_DMA_CHANNEL_3, LL_DMA_MEMORY_INCREMENT);

  LL_DMA_SetPeriphSize(DMA1, LL_DMA_CHANNEL_3, LL_DMA_PDATAALIGN_BYTE);

  LL_DMA_SetMemorySize(DMA1, LL_DMA_CHANNEL_3, LL_DMA_MDATAALIGN_BYTE);

  /* UCPD1_TX Init */
  LL_DMA_SetPeriphRequest(DMA1, LL_DMA_CHANNEL_4, LL_DMAMUX_REQ_UCPD1_TX);

  LL_DMA_SetDataTransferDirection(DMA1, LL_DMA_CHANNEL_4, LL_DMA_DIRECTION_MEMORY_TO_PERIPH);

  LL_DMA_SetChannelPriorityLevel(DMA1, LL_DMA_CHANNEL_4, LL_DMA_PRIORITY_LOW);

  LL_DMA_SetMode(DMA1, LL_DMA_CHANNEL_4, LL_DMA_MODE_NORMAL);

  LL_DMA_SetPeriphIncMode(DMA1, LL_DMA_CHANNEL_4, LL_DMA_PERIPH_NOINCREMENT);

  LL_DMA_SetMemoryIncMode(DMA1, LL_DMA_CHANNEL_4, LL_DMA_MEMORY_INCREMENT);

  LL_DMA_SetPeriphSize(DMA1, LL_DMA_CHANNEL_4, LL_DMA_PDATAALIGN_BYTE);

  LL_DMA_SetMemorySize(DMA1, LL_DMA_CHANNEL_4, LL_DMA_MDATAALIGN_BYTE);

  /* UCPD1 interrupt Init */
  NVIC_SetPriority(UCPD1_IRQn, NVIC_EncodePriority(NVIC_GetPriorityGrouping(),5, 0));
  NVIC_EnableIRQ(UCPD1_IRQn);

}

static void MX_USB_PCD_Init(void)
{

  hpcd_USB_FS.Instance = USB;
  hpcd_USB_FS.Init.dev_endpoints = 8;
  hpcd_USB_FS.Init.speed = PCD_SPEED_FULL;
  hpcd_USB_FS.Init.phy_itface = PCD_PHY_EMBEDDED;
  hpcd_USB_FS.Init.Sof_enable = DISABLE;
  hpcd_USB_FS.Init.low_power_enable = DISABLE;
  hpcd_USB_FS.Init.lpm_enable = DISABLE;
  hpcd_USB_FS.Init.battery_charging_enable = DISABLE;
  if (HAL_PCD_Init(&hpcd_USB_FS) != HAL_OK)
  {
    Error_Handler();
  }

}

static void MX_DMA_Init(void)
{

  /* DMA controller clock enable */
  __HAL_RCC_DMAMUX1_CLK_ENABLE();
  __HAL_RCC_DMA1_CLK_ENABLE();

  /* DMA interrupt init */
  /* DMA1_Channel1_IRQn interrupt configuration */
  HAL_NVIC_SetPriority(DMA1_Channel1_IRQn, 5, 0);
  HAL_NVIC_EnableIRQ(DMA1_Channel1_IRQn);
  /* DMA1_Channel2_IRQn interrupt configuration */
  HAL_NVIC_SetPriority(DMA1_Channel2_IRQn, 5, 0);
  HAL_NVIC_EnableIRQ(DMA1_Channel2_IRQn);
  /* DMA1_Channel3_IRQn interrupt configuration */
  NVIC_SetPriority(DMA1_Channel3_IRQn, NVIC_EncodePriority(NVIC_GetPriorityGrouping(),5, 0));
  NVIC_EnableIRQ(DMA1_Channel3_IRQn);
  /* DMA1_Channel4_IRQn interrupt configuration */
  NVIC_SetPriority(DMA1_Channel4_IRQn, NVIC_EncodePriority(NVIC_GetPriorityGrouping(),5, 0));
  NVIC_EnableIRQ(DMA1_Channel4_IRQn);

}

static void MX_GPIO_Init(void)
{
  LL_GPIO_InitTypeDef GPIO_InitStruct = {0};

  /* GPIO Ports Clock Enable */
  LL_AHB2_GRP1_EnableClock(LL_AHB2_GRP1_PERIPH_GPIOC);
  LL_AHB2_GRP1_EnableClock(LL_AHB2_GRP1_PERIPH_GPIOF);
  LL_AHB2_GRP1_EnableClock(LL_AHB2_GRP1_PERIPH_GPIOA);
  LL_AHB2_GRP1_EnableClock(LL_AHB2_GRP1_PERIPH_GPIOB);

  /**/
  LL_GPIO_ResetOutputPin(Heater_GPIO_Port, Heater_Pin);

  /**/
  LL_GPIO_ResetOutputPin(RELAY_GPIO_Port, RELAY_Pin);

  /**/
  LL_GPIO_ResetOutputPin(BL_ENABLE_OR_LED_GPIO_Port, BL_ENABLE_OR_LED_Pin);

  /**/
  LL_GPIO_ResetOutputPin(LED_INFO_GPIO_Port, LED_INFO_Pin);

  /**/
  GPIO_InitStruct.Pin = BTN_YEL_Pin;
  GPIO_InitStruct.Mode = LL_GPIO_MODE_INPUT;
  GPIO_InitStruct.Pull = LL_GPIO_PULL_NO;
  LL_GPIO_Init(BTN_YEL_GPIO_Port, &GPIO_InitStruct);

  /**/
  GPIO_InitStruct.Pin = MOVEMENT_SENSOR_Pin;
  GPIO_InitStruct.Mode = LL_GPIO_MODE_INPUT;
  GPIO_InitStruct.Pull = LL_GPIO_PULL_NO;
  LL_GPIO_Init(MOVEMENT_SENSOR_GPIO_Port, &GPIO_InitStruct);

  /**/
  GPIO_InitStruct.Pin = Heater_Pin;
  GPIO_InitStruct.Mode = LL_GPIO_MODE_OUTPUT;
  GPIO_InitStruct.Speed = LL_GPIO_SPEED_FREQ_LOW;
  GPIO_InitStruct.OutputType = LL_GPIO_OUTPUT_PUSHPULL;
  GPIO_InitStruct.Pull = LL_GPIO_PULL_NO;
  LL_GPIO_Init(Heater_GPIO_Port, &GPIO_InitStruct);

  /**/
  GPIO_InitStruct.Pin = RELAY_Pin;
  GPIO_InitStruct.Mode = LL_GPIO_MODE_OUTPUT;
  GPIO_InitStruct.Speed = LL_GPIO_SPEED_FREQ_LOW;
  GPIO_InitStruct.OutputType = LL_GPIO_OUTPUT_PUSHPULL;
  GPIO_InitStruct.Pull = LL_GPIO_PULL_NO;
  LL_GPIO_Init(RELAY_GPIO_Port, &GPIO_InitStruct);

  /**/
  GPIO_InitStruct.Pin = BL_RESET_Pin;
  GPIO_InitStruct.Mode = LL_GPIO_MODE_INPUT;
  GPIO_InitStruct.Pull = LL_GPIO_PULL_NO;
  LL_GPIO_Init(BL_RESET_GPIO_Port, &GPIO_InitStruct);

  /**/
  GPIO_InitStruct.Pin = BL_FAULT_Pin;
  GPIO_InitStruct.Mode = LL_GPIO_MODE_INPUT;
  GPIO_InitStruct.Pull = LL_GPIO_PULL_NO;
  LL_GPIO_Init(BL_FAULT_GPIO_Port, &GPIO_InitStruct);

  /**/
  GPIO_InitStruct.Pin = BL_ENABLE_OR_LED_Pin;
  GPIO_InitStruct.Mode = LL_GPIO_MODE_OUTPUT;
  GPIO_InitStruct.Speed = LL_GPIO_SPEED_FREQ_LOW;
  GPIO_InitStruct.OutputType = LL_GPIO_OUTPUT_PUSHPULL;
  GPIO_InitStruct.Pull = LL_GPIO_PULL_NO;
  LL_GPIO_Init(BL_ENABLE_OR_LED_GPIO_Port, &GPIO_InitStruct);

  /**/
  GPIO_InitStruct.Pin = LED_INFO_Pin;
  GPIO_InitStruct.Mode = LL_GPIO_MODE_OUTPUT;
  GPIO_InitStruct.Speed = LL_GPIO_SPEED_FREQ_LOW;
  GPIO_InitStruct.OutputType = LL_GPIO_OUTPUT_PUSHPULL;
  GPIO_InitStruct.Pull = LL_GPIO_PULL_NO;
  LL_GPIO_Init(LED_INFO_GPIO_Port, &GPIO_InitStruct);

  /**/
  GPIO_InitStruct.Pin = BTN_RED_Pin;
  GPIO_InitStruct.Mode = LL_GPIO_MODE_INPUT;
  GPIO_InitStruct.Pull = LL_GPIO_PULL_NO;
  LL_GPIO_Init(BTN_RED_GPIO_Port, &GPIO_InitStruct);

}

void StartDefaultTask(void const * argument)
{
  /* USER CODE BEGIN 5 */
  UNUSED(argument);
  /* Infinite loop */
  for(;;)
  {
    osDelay(1);
  }
  /* USER CODE END 5 */
}

void HAL_TIM_PeriodElapsedCallback(TIM_HandleTypeDef *htim)
{
  if (htim->Instance == TIM6) {
    HAL_IncTick();
  }
}

void Error_Handler(void)
{
  /* USER CODE BEGIN Error_Handler_Debug */
  /* User can add his own implementation to report the HAL error return state */
  printf("Error_Handler\r\n");
  __disable_irq();
  while (1)
  {
  }
  /* USER CODE END Error_Handler_Debug */
}
